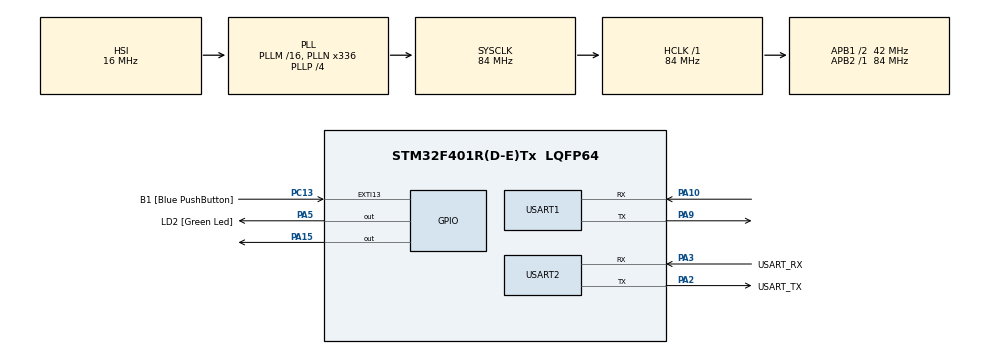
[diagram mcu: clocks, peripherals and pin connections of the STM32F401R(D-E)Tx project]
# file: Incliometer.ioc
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Mcu.Family=STM32F4
Mcu.Name=STM32F401R(D-E)Tx
Mcu.Package=LQFP64
NVIC.PriorityGroup=NVIC_PRIORITYGROUP_4
NVIC.USART1_IRQn=true\:10\:0\:true\:false\:true\:true\:true\:true
PA10.Mode=Asynchronous
PA10.Signal=USART1_RX
PA13.GPIO_Label=TMS
PA13.Mode=Trace_Asynchronous_SW
PA13.Signal=SYS_JTMS-SWDIO
PA14.GPIO_Label=TCK
PA14.Mode=Trace_Asynchronous_SW
PA14.Signal=SYS_JTCK-SWCLK
PA15.Signal=GPIO_Output
PA2.GPIO_Label=USART_TX
PA2.GPIO_Mode=GPIO_MODE_AF_PP
PA2.GPIO_PuPd=GPIO_NOPULL
PA2.GPIO_Speed=GPIO_SPEED_FREQ_LOW
PA2.Mode=Asynchronous
PA2.Signal=USART2_TX
PA3.GPIO_Label=USART_RX
PA3.GPIO_Mode=GPIO_MODE_AF_PP
PA3.GPIO_PuPd=GPIO_NOPULL
PA3.GPIO_Speed=GPIO_SPEED_FREQ_LOW
PA3.Mode=Asynchronous
PA3.Signal=USART2_RX
PA5.GPIO_Label=LD2 [Green Led]
PA5.GPIO_Mode=GPIO_MODE_OUTPUT_PP
PA5.GPIO_PuPd=GPIO_NOPULL
PA5.GPIO_Speed=GPIO_SPEED_FREQ_LOW
PA5.Signal=GPIO_Output
PA9.Mode=Asynchronous
PA9.Signal=USART1_TX
PB3.GPIO_Label=SWO
PB3.Mode=Trace_Asynchronous_SW
PB3.Signal=SYS_JTDO-SWO
PC13-ANTI_TAMP.GPIO_Label=B1 [Blue PushButton]
PC13-ANTI_TAMP.GPIO_ModeDefaultEXTI=GPIO_MODE_IT_FALLING
PC13-ANTI_TAMP.GPIO_PuPd=GPIO_NOPULL
PC13-ANTI_TAMP.Signal=GPXTI13
PC14-OSC32_IN.Mode=LSE-External-Oscillator
PC14-OSC32_IN.Signal=RCC_OSC32_IN
PC15-OSC32_OUT.Mode=LSE-External-Oscillator
PC15-OSC32_OUT.Signal=RCC_OSC32_OUT
PH0\ -\ OSC_IN.Mode=HSE-External-Clock-Source
PH0\ -\ OSC_IN.Signal=RCC_OSC_IN
PH1\ -\ OSC_OUT.Mode=HSE-External-Clock-Source
PH1\ -\ OSC_OUT.Signal=RCC_OSC_OUT
ProjectManager.HeapSize=0x200
ProjectManager.StackSize=0x400
ProjectManager.TargetToolchain=CMake
RCC.48MHZClocksFreq_Value=48000000
RCC.AHBFreq_Value=84000000
RCC.APB1CLKDivider=RCC_HCLK_DIV2
RCC.APB1Freq_Value=42000000
RCC.APB1TimFreq_Value=84000000
RCC.APB2Freq_Value=84000000
RCC.APB2TimFreq_Value=84000000
RCC.CortexFreq_Value=84000000
RCC.HCLKFreq_Value=84000000
RCC.HSE_VALUE=8000000
RCC.HSI_VALUE=16000000
RCC.PLLN=336
RCC.PLLP=RCC_PLLP_DIV4
RCC.PLLQ=7
RCC.SYSCLKFreq_VALUE=84000000
RCC.SYSCLKSource=RCC_SYSCLKSOURCE_PLLCLK
RCC.VCOOutputFreq_Value=336000000
USART1.VirtualMode=VM_ASYNC
USART2.VirtualMode=VM_ASYNC
board=NUCLEO-F401RE

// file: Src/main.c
/* USER CODE BEGIN Header */
/**
  ******************************************************************************
  * @file           : main.c
  * @brief          : Main program body
  ******************************************************************************
  * @attention
  *
  * Copyright (c) 2026 STMicroelectronics.
  * All rights reserved.
  *
  * This software is licensed under terms that can be found in the LICENSE file
  * in the root directory of this software component.
  * If no LICENSE file comes with this software, it is provided AS-IS.
  *
  ******************************************************************************
  */
/* USER CODE END Header */
#include "main.h"
#include "usart.h"
#include "gpio.h"
#include "stdio.h"

/* USER CODE BEGIN PV */
// 供 STM32CubeMonitor 和串口打印读取的全局角度变量
volatile float angle_roll  = 0.0f;
volatile float angle_pitch = 0.0f;
volatile float angle_yaw   = 0.0f;

// 预设的 Modbus 查询指令帧 (读 0000H~0002H: Roll, Pitch, Yaw)
uint8_t modbus_query_cmd[8] = {0x05, 0x04, 0x00, 0x00, 0x00, 0x03, 0xB1, 0x8F};
uint8_t rx_buffer[32]; // 接收缓冲区稍微放大，防止越界

// ⭐ PA15 亮灯 + 初始位置稳定检测相关变量
volatile uint8_t start_read = 0;   // 第一个变量：置 true 后开始读取 IMU 并检测初始位置
volatile uint8_t settled    = 0;   // 第二个变量：保持初始位置满 5 秒后置 true

#define STABLE_THRESHOLD_DEG  5.0f  // 初始位置阈值(度)：相对基准位置的偏差小于它即视为"仍在初始位置"
#define STABLE_HOLD_MS        5000  // 需要保持在初始位置的时间(毫秒)

static uint8_t   in_position       = 0; // 当前是否正处于初始位置
static uint32_t  stable_start_tick = 0; // 进入初始位置的系统时刻(ms)

// ⭐ 初始位置基准：收到 start_read=1 时记录当前角度，之后检测是否偏离该基准
static float baseline_roll  = 0.0f;
static float baseline_pitch = 0.0f;
static float baseline_yaw   = 0.0f;

// ⭐ 终端(USART2)命令接收变量
volatile uint8_t terminal_rx_byte     = 0; // 中断接收到的字符
volatile uint8_t terminal_cmd_pending = 0; // 主循环待处理命令标志
/* USER CODE END PV */

void SystemClock_Config(void);
/* USER CODE BEGIN PFP */
#ifdef __GNUC__
int __io_putchar(int ch)
{
    HAL_UART_Transmit(&huart2, (uint8_t *)&ch, 1, HAL_MAX_DELAY);
    return ch;
}
#else
int fputc(int ch, FILE *f)
{
    HAL_UART_Transmit(&huart2, (uint8_t *)&ch, 1, HAL_MAX_DELAY);
    return ch;
}
#endif

// Modbus CRC16 校验函数声明
uint16_t Modbus_CRC16(const uint8_t *buffer, uint16_t length);
/* USER CODE END PFP */

/* USER CODE BEGIN 0 */
// Modbus CRC16 校验函数实现
uint16_t Modbus_CRC16(const uint8_t *buffer, uint16_t length)
{
    uint16_t crc = 0xFFFF;
    for (uint16_t i = 0; i < length; i++)
    {
        crc ^= buffer[i];
        for (uint8_t j = 0; j < 8; j++)
        {
            if (crc & 0x0001)
            {
                crc = (crc >> 1) ^ 0xA001;
            }
            else
            {
                crc >>= 1;
            }
        }
    }
    return crc;
}
/* USER CODE END 0 */

int main(void)
{

  /* MCU Configuration--------------------------------------------------------*/

  /* Reset of all peripherals, Initializes the Flash interface and the Systick. */
  HAL_Init();

  /* Configure the system clock */
  SystemClock_Config();

  /* Initialize all configured peripherals */
  MX_GPIO_Init();
  MX_USART2_UART_Init();
  MX_USART1_UART_Init();
  /* USER CODE BEGIN 2 */
  // ⭐ 核心修改 1：弃用定长接收，改用带有“空闲中断”的不定长接收
  // 只要总线空闲超过一个字节的时间，就会立即触发回调，彻底杜绝字节错位！
  HAL_UARTEx_ReceiveToIdle_IT(&huart1, rx_buffer, sizeof(rx_buffer));

  // ⭐ 终端(USART2)命令接收：启用中断并接收单字节命令
  HAL_NVIC_SetPriority(USART2_IRQn, 10, 0);
  HAL_NVIC_EnableIRQ(USART2_IRQn);
  HAL_UART_Receive_IT(&huart2, (uint8_t *)&terminal_rx_byte, 1);

  printf("\r\n=== Terminal commands ===\r\n");
  printf("'1' or 's' : start_read = 1 (begin detection)\r\n");
  printf("'0' or 'r' : start_read = 0 (stop detection)\r\n\r\n");
  /* USER CODE END 2 */

  /* Infinite loop */
  /* USER CODE BEGIN WHILE */
  while (1)
  {
    // 每隔 100ms 向水平仪发送一次查询指令 (给接收留出充足余量)
    HAL_UART_Transmit(&huart1, modbus_query_cmd, 8, 100);

    // 打印三个角度到电脑
    printf("Roll: %.2f | Pitch: %.2f | Yaw: %.2f \r\n", angle_roll, angle_pitch, angle_yaw);

    HAL_Delay(100);
    /* USER CODE END WHILE */

    /* USER CODE BEGIN 3 */
    // ⭐ 终端命令处理：通过 PC 串口(UART2) 输入字符来修改 start_read
    if (terminal_cmd_pending)
    {
        terminal_cmd_pending = 0;

        switch (terminal_rx_byte)
        {
            case '1':
            case 's':
            case 'S':
                baseline_roll  = angle_roll;   // 记录当前角度作为初始位置基准
                baseline_pitch = angle_pitch;
                baseline_yaw   = angle_yaw;
                start_read  = 1;
                settled     = 0;        // 重新开始一轮检测
                in_position = 0;
                printf("[CMD] start_read = 1 (baseline R=%.2f P=%.2f Y=%.2f)\r\n",
                       baseline_roll, baseline_pitch, baseline_yaw);
                break;

            case '0':
            case 'r':
            case 'R':
                start_read  = 0;
                in_position = 0;
                HAL_GPIO_WritePin(GPIOA, GPIO_PIN_15, GPIO_PIN_RESET); // 停止时灭灯
                printf("[CMD] start_read = 0\r\n");
                break;

            default:
                printf("[CMD] unknown cmd: '%c'\r\n", terminal_rx_byte);
                break;
        }
    }

    // ⭐ PA15 亮灯 + 初始位置稳定检测：
    // start_read 置 true 后，检测水平仪是否保持在初始位置(相对基准偏差在阈值内)。
    // 处于初始位置时点亮 PA15 并计时，保持满 5 秒则置 settled=true 并复位 start_read。
    if (start_read)
    {
        uint8_t at_initial = (angle_roll  > baseline_roll  - STABLE_THRESHOLD_DEG && angle_roll  < baseline_roll  + STABLE_THRESHOLD_DEG) &&
                             (angle_pitch > baseline_pitch - STABLE_THRESHOLD_DEG && angle_pitch < baseline_pitch + STABLE_THRESHOLD_DEG) &&
                             (angle_yaw   > baseline_yaw   - STABLE_THRESHOLD_DEG && angle_yaw   < baseline_yaw   + STABLE_THRESHOLD_DEG);

        if (at_initial)
        {
            HAL_GPIO_WritePin(GPIOA, GPIO_PIN_15, GPIO_PIN_SET); // 亮灯

            if (!in_position)                       // 刚进入初始位置，开始计时
            {
                in_position = 1;
                stable_start_tick = HAL_GetTick();
            }

            uint32_t elapsed_ms = HAL_GetTick() - stable_start_tick;

            if (elapsed_ms >= STABLE_HOLD_MS)
            {
                // 已稳定保持 5 秒：确认稳定，复位触发变量
                settled = 1;
                start_read = 0;
                in_position = 0;
                HAL_GPIO_WritePin(GPIOA, GPIO_PIN_15, GPIO_PIN_RESET); // 完成，灭灯
                printf("[OK] stable %d ms -> settled = 1\r\n", STABLE_HOLD_MS);
            }
            else
            {
                // 打印计时时间
                printf("hold: %lu / %d ms\r\n", (unsigned long)elapsed_ms, STABLE_HOLD_MS);
            }
        }
        else
        {
            // 偏离初始位置：灭灯并重新计时
            in_position = 0;
            HAL_GPIO_WritePin(GPIOA, GPIO_PIN_15, GPIO_PIN_RESET);
        }
    }
  }
  /* USER CODE END 3 */
}

void SystemClock_Config(void)
{
  RCC_OscInitTypeDef RCC_OscInitStruct = {0};
  RCC_ClkInitTypeDef RCC_ClkInitStruct = {0};

  /** Configure the main internal regulator output voltage
  */
  __HAL_RCC_PWR_CLK_ENABLE();
  __HAL_PWR_VOLTAGESCALING_CONFIG(PWR_REGULATOR_VOLTAGE_SCALE2);

  /** Initializes the RCC Oscillators according to the specified parameters
  * in the RCC_OscInitTypeDef structure.
  */
  RCC_OscInitStruct.OscillatorType = RCC_OSCILLATORTYPE_HSI;
  RCC_OscInitStruct.HSIState = RCC_HSI_ON;
  RCC_OscInitStruct.HSICalibrationValue = RCC_HSICALIBRATION_DEFAULT;
  RCC_OscInitStruct.PLL.PLLState = RCC_PLL_ON;
  RCC_OscInitStruct.PLL.PLLSource = RCC_PLLSOURCE_HSI;
  RCC_OscInitStruct.PLL.PLLM = 16;
  RCC_OscInitStruct.PLL.PLLN = 336;
  RCC_OscInitStruct.PLL.PLLP = RCC_PLLP_DIV4;
  RCC_OscInitStruct.PLL.PLLQ = 7;
  if (HAL_RCC_OscConfig(&RCC_OscInitStruct) != HAL_OK)
  {
    Error_Handler();
  }

  /** Initializes the CPU, AHB and APB buses clocks
  */
  RCC_ClkInitStruct.ClockType = RCC_CLOCKTYPE_HCLK|RCC_CLOCKTYPE_SYSCLK
                              |RCC_CLOCKTYPE_PCLK1|RCC_CLOCKTYPE_PCLK2;
  RCC_ClkInitStruct.SYSCLKSource = RCC_SYSCLKSOURCE_PLLCLK;
  RCC_ClkInitStruct.AHBCLKDivider = RCC_SYSCLK_DIV1;
  RCC_ClkInitStruct.APB1CLKDivider = RCC_HCLK_DIV2;
  RCC_ClkInitStruct.APB2CLKDivider = RCC_HCLK_DIV1;

  if (HAL_RCC_ClockConfig(&RCC_ClkInitStruct, FLASH_LATENCY_2) != HAL_OK)
  {
    Error_Handler();
  }
}

/* USER CODE BEGIN 4 */
// ⭐ 终端(USART2)接收回调：收到字符后置待处理标志，并重新开启接收
void HAL_UART_RxCpltCallback(UART_HandleTypeDef *huart)
{
    if (huart->Instance == USART2)
    {
        terminal_cmd_pending = 1;
        HAL_UART_Receive_IT(&huart2, (uint8_t *)&terminal_rx_byte, 1);
    }
}

// ⭐ 核心修改 2：使用串口空闲中断回调（替代原本的 RxCpltCallback）
void HAL_UARTEx_RxEventCallback(UART_HandleTypeDef *huart, uint16_t Size)
{
    if (huart->Instance == USART1)
    {
        // 确保收到的字节数足够且帧头正确（站号 0x05, 功能码 0x04, 数据字节 0x06）
        if (Size >= 11 && rx_buffer[0] == 0x05 && rx_buffer[1] == 0x04 && rx_buffer[2] == 0x06)
        {
            // 提取传感器传来的 CRC 值 (低字节在前，高字节在后)
            uint16_t received_crc = rx_buffer[9] | (rx_buffer[10] << 8);

            // 单片机自己计算前 9 个字节的 CRC 值
            uint16_t calculated_crc = Modbus_CRC16(rx_buffer, 9);

            // 只有当两者完全一致时，才确认数据有效并进行更新
            if (received_crc == calculated_crc)
            {
                int16_t raw_roll  = (int16_t)((rx_buffer[3] << 8) | rx_buffer[4]);
                int16_t raw_pitch = (int16_t)((rx_buffer[5] << 8) | rx_buffer[6]);
                int16_t raw_yaw   = (int16_t)((rx_buffer[7] << 8) | rx_buffer[8]);

                angle_roll  = raw_roll / 100.0f;
                angle_pitch = raw_pitch / 100.0f;
                angle_yaw   = raw_yaw / 100.0f;
            }
        }

        // 处理完毕后，重新开启不定长空闲中断接收
        HAL_UARTEx_ReceiveToIdle_IT(&huart1, rx_buffer, sizeof(rx_buffer));
    }
}

// ⭐ 核心修改 3：增加错误回调，防止因程序卡顿导致串口溢出错误 (ORE) 彻底死机
void HAL_UART_ErrorCallback(UART_HandleTypeDef *huart)
{
    if (huart->Instance == USART1)
    {
        // 强行清除所有错误标志位
        __HAL_UART_CLEAR_OREFLAG(huart);
        __HAL_UART_CLEAR_NEFLAG(huart);
        __HAL_UART_CLEAR_FEFLAG(huart);

        // 重新开启接收，让串口“起死回生”
        HAL_UARTEx_ReceiveToIdle_IT(&huart1, rx_buffer, sizeof(rx_buffer));
    }
}
/* USER CODE END 4 */

void Error_Handler(void)
{
  __disable_irq();
  while (1)
  {
  }
}
